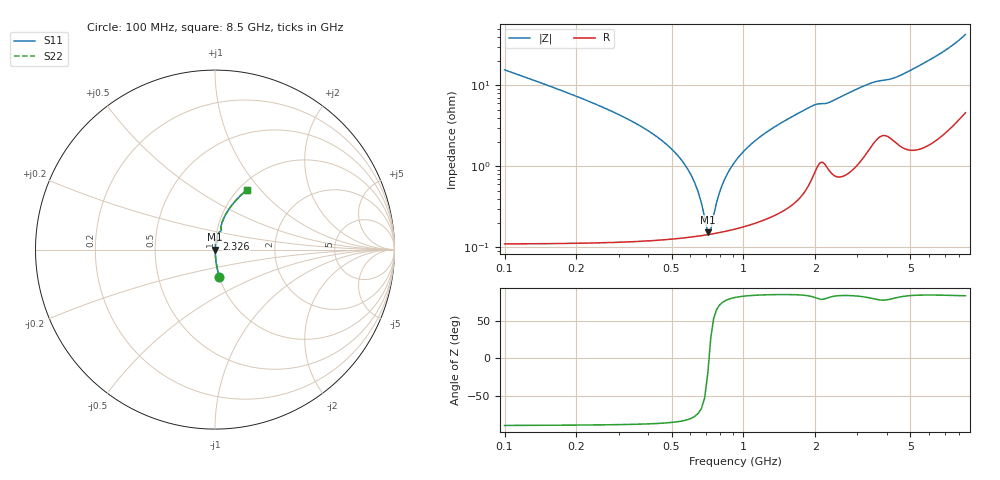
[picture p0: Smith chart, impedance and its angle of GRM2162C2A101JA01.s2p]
!Murata Part Number: GRM2162C2A101JA01
!These Parameters are Measured in Series Mode Connection
!Data Generated on Mar 30, 2021
!  o--ll--o
!Port1  Port2
!  o------o
!Operation Temp=25[degC], DC Bias Voltage=0[V]
!Freq. Start=100[MHz] Stop=9[GHz] 401[Steps]
# Hz S RI R 50
!Freq.(Hz) S11(Real) S11(Imag) S21(Real) S21(Imag) S12(Real) S12(Imag) S22(Real) S22(Imag)
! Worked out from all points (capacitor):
!   401 points, 100 MHz to 8.5 GHz, reference 50 ohm
!   read as one part in series: C = 100 pF near 142 MHz
!   lowest |Z| = 154 mohm at 709 MHz (marker M1)
!   series resonance near 717.6 MHz, so ESL is about 490 pH
!   S11 on the Smith chart (normalised r, x): 100 MHz: 1.00, -0.31; 2.326 GHz: 1.02, +0.13; 8.5 GHz: 1.09, +0.85
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1e8  0.0248 -0.152  0.9752 0.152  0.9752 0.152  0.0248 -0.152
2.47e8  0.00435 -0.0565  0.9957 0.0565  0.9957 0.0565  0.00435 -0.0565
4.57e8  0.00167 -0.0207  0.9983 0.0207  0.9983 0.0207  0.00167 -0.0207
5.41e8  0.00146 -0.0127  0.9985 0.0127  0.9985 0.0127  0.00146 -0.0127
6.04e8  0.0014 -0.00769  0.9986 0.00769  0.9986 0.00769  0.0014 -0.00769
6.88e8  0.00142 -0.00187  0.9986 0.00187  0.9986 0.00187  0.00142 -0.00187
7.09e8  0.00144 -0.000532  0.9986 0.000532  0.9986 0.000532  0.00144 -0.000532
7.3e8  0.00146 0.000766  0.9985 -0.000766  0.9985 -0.000766  0.00146 0.000766
7.51e8  0.00148 0.00203  0.9985 -0.00203  0.9985 -0.00203  0.00148 0.00203
8.14e8  0.00158 0.00564  0.9984 -0.00564  0.9984 -0.00564  0.00158 0.00564
8.56e8  0.00166 0.00791  0.9983 -0.00791  0.9983 -0.00791  0.00166 0.00791
9.61e8  0.00191 0.0132  0.9981 -0.0132  0.9981 -0.0132  0.00191 0.0132
1.171e9  0.00261 0.0229  0.9974 -0.0229  0.9974 -0.0229  0.00261 0.0229
1.507e9  0.00433 0.037  0.9957 -0.037  0.9957 -0.037  0.00433 0.037
1.948e9  0.0103 0.0548  0.9897 -0.0548  0.9897 -0.0548  0.0103 0.0548
2.326e9  0.0121 0.0614  0.9879 -0.0614  0.9879 -0.0614  0.0121 0.0614
2.914e9  0.0167 0.0846  0.9833 -0.0846  0.9833 -0.0846  0.0167 0.0846
3.481e9  0.0291 0.1023  0.9709 -0.1023  0.9709 -0.1023  0.0291 0.1023
4.3e9  0.0338 0.1166  0.9662 -0.1166  0.9662 -0.1166  0.0338 0.1166
5.707e9  0.0495 0.1763  0.9505 -0.1763  0.9505 -0.1763  0.0495 0.1763
7.114e9  0.0933 0.2466  0.9067 -0.2466  0.9067 -0.2466  0.0933 0.2466
8.5e9  0.1789 0.3328  0.8211 -0.3328  0.8211 -0.3328  0.1789 0.3328
